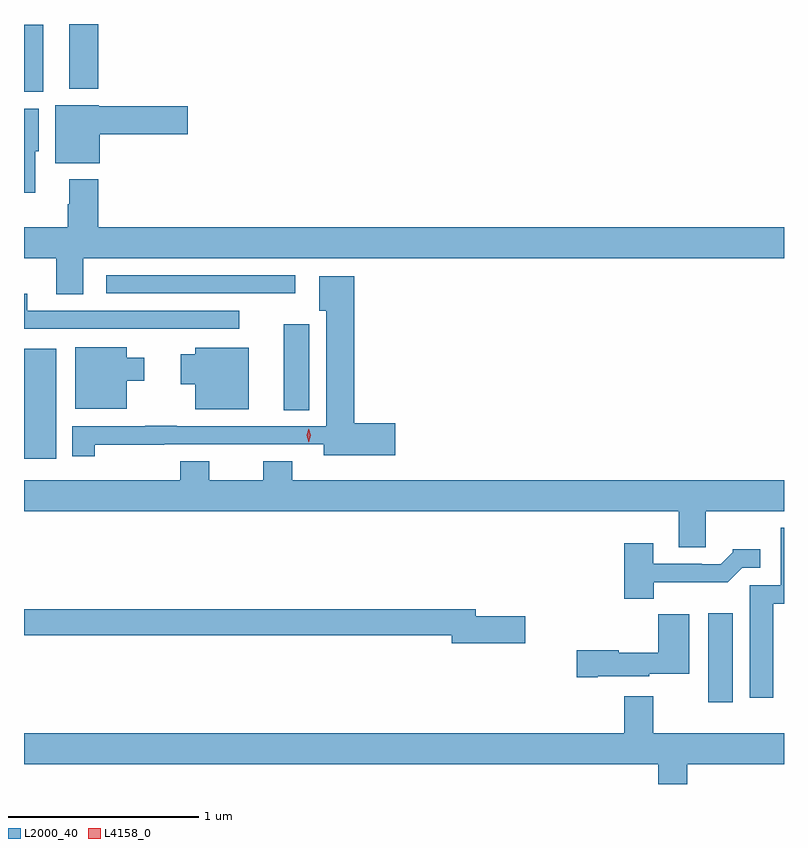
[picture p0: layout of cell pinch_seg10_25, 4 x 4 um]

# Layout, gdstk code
import gdstk
lib = gdstk.Library(unit=1e-6, precision=1e-09)
def R(c, l, rs):  # rectangles x0, y0, x1, y1
    for r in rs: c.add(gdstk.rectangle(r[:2], r[2:], *l))
def P(c, l, *ps):  # polygons
    for p in ps: c.add(gdstk.Polygon(p, *l))
L2000_40 = (2000, 40)
L4158_0 = (4158, 0)

pinch_seg10_25 = lib.new_cell('pinch_seg10_25')
R(pinch_seg10_25, L2000_40, [(948.8,1272.672,948.931,1273.141), (945.2,1273.952,945.37,1274.533), (946.568,1274.209,946.702,1274.662), (945.633,1274.823,946.627,1274.919), (945.2,1275.884,945.301,1276.237), (945.437,1275.899,945.59,1276.241)])
P(pinch_seg10_25, L2000_40, [(945.598,1275.662),(946.063,1275.662),(946.063,1275.809),(945.594,1275.809),(945.594,1275.814),(945.365,1275.814),(945.365,1275.509),(945.598,1275.509)],
  [(945.259,1275.57),(945.277,1275.57),(945.277,1275.796),(945.2,1275.796),(945.2,1275.354),(945.259,1275.354)],
  [(945.511,1275.008),(949.2,1275.008),(949.2,1275.172),(945.59,1275.172),(945.59,1275.424),(945.437,1275.424),(945.437,1275.293),(945.43,1275.293),(945.43,1275.172),(945.2,1275.172),(945.2,1275.008),(945.371,1275.008),(945.371,1274.818),(945.511,1274.818)],
  [(945.573,1274.027),(945.938,1274.027),(945.938,1274.028),(946.778,1274.028),(946.778,1273.97),(947.155,1273.97),(947.155,1274.141),(946.937,1274.141),(946.937,1274.914),(946.754,1274.914),(946.754,1274.732),(946.79,1274.732),(946.79,1274.124),(946.004,1274.124),(946.004,1274.127),(945.838,1274.127),(945.838,1274.124),(945.455,1274.124),(945.455,1273.965),(945.573,1273.965)],
  [(946.333,1274.733),(945.217,1274.733),(945.217,1274.821),(945.2,1274.821),(945.2,1274.637),(946.333,1274.637)],
  [(945.742,1274.363),(945.832,1274.363),(945.832,1274.485),(945.742,1274.485),(945.742,1274.539),(945.47,1274.539),(945.47,1274.216),(945.742,1274.216)],
  [(946.384,1274.536),(946.1,1274.536),(946.1,1274.503),(946.025,1274.503),(946.025,1274.345),(946.1,1274.345),(946.1,1274.213),(946.384,1274.213)],
  [(948.787,1273.676),(949.2,1273.676),(949.2,1273.84),(946.613,1273.84),(946.613,1273.939),(946.46,1273.939),(946.46,1273.84),(946.174,1273.84),(946.174,1273.939),(946.022,1273.939),(946.022,1273.84),(945.2,1273.84),(945.2,1273.676),(948.647,1273.676),(948.647,1273.486),(948.787,1273.486)],
  [(949.144,1273.19),(949.2,1273.19),(949.2,1273.591),(949.182,1273.591),(949.182,1273.287),(949.019,1273.287),(949.019,1272.696),(949.144,1272.696)],
  [(948.514,1273.302),(948.903,1273.302),(948.981,1273.38),(949.075,1273.38),(949.075,1273.477),(948.93,1273.477),(948.93,1273.462),(948.866,1273.398),(948.767,1273.398),(948.767,1273.401),(948.511,1273.401),(948.511,1273.507),(948.359,1273.507),(948.359,1273.217),(948.514,1273.217)],
  [(947.839,1273.124),(947.578,1273.124),(947.578,1273.16),(945.2,1273.16),(945.2,1273.024),(947.45,1273.024),(947.45,1272.982),(947.839,1272.982)],
  [(948.22,1272.809),(948.492,1272.809),(948.492,1272.821),(948.7,1272.821),(948.7,1273.135),(948.538,1273.135),(948.538,1272.931),(948.33,1272.931),(948.33,1272.944),(948.108,1272.944),(948.108,1272.802),(948.22,1272.802)],
  [(948.691,1272.344),(949.2,1272.344),(949.2,1272.508),(948.511,1272.508),(948.511,1272.703),(948.359,1272.703),(948.359,1272.508),(945.2,1272.508),(945.2,1272.344),(948.539,1272.344),(948.539,1272.241),(948.691,1272.241)])
P(pinch_seg10_25, L4158_0, [(946.698,1274.04),(946.698,1274.04),(946.688,1274.076),(946.698,1274.111),(946.698,1274.111),(946.698,1274.111),(946.708,1274.076),(946.698,1274.04)])

lib.write_gds('pinch_seg10_25.gds')
